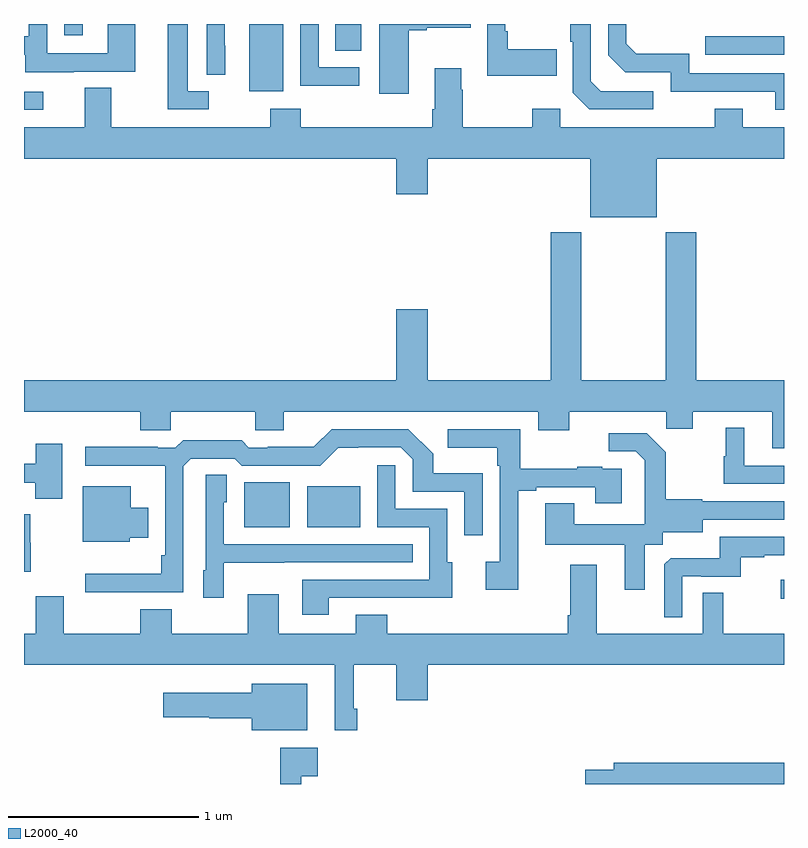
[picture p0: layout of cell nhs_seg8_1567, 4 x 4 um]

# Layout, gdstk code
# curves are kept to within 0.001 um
import gdstk
lib = gdstk.Library(unit=1e-6, precision=1e-09)
def R(c, l, rs):  # rectangles x0, y0, x1, y1
    for r in rs: c.add(gdstk.rectangle(r[:2], r[2:], *l))
def P(c, l, *ps):  # polygons
    for p in ps: c.add(gdstk.Polygon(p, *l))
L2000_40 = (2000, 40)

nhs_seg8_1567 = lib.new_cell('nhs_seg8_1567')
R(nhs_seg8_1567, L2000_40, [(214.983,1088.876,215,1088.974), (212.159,1089.251,212.398,1089.487), (212.492,1089.251,212.77,1089.466), (211,1091.448,211.102,1091.544), (212.186,1091.546,212.365,1091.9), (214.585,1091.739,215,1091.835), (212.639,1091.758,212.776,1091.9), (211.212,1091.841,211.309,1091.9)])
P(nhs_seg8_1567, L2000_40, [(211.261,1091.649),(211.585,1091.649),(211.585,1091.9),(211.44,1091.9),(211.44,1091.745),(211.122,1091.745),(211.122,1091.9),(211.026,1091.9),(211.026,1091.835),(211,1091.835),(211,1091.739),(211.007,1091.739),(211.007,1091.645),(211.261,1091.645)],
  [(212.764,1091.673),(212.55,1091.673),(212.55,1091.9),(212.454,1091.9),(212.454,1091.575),(212.764,1091.575)],
  [(212.058,1091.786),(212.057,1091.786),(212.057,1091.9),(211.962,1091.9),(211.962,1091.632),(212.058,1091.632)],
  [(213.803,1091.767),(213.547,1091.767),(213.547,1091.863),(213.534,1091.863),(213.534,1091.9),(213.438,1091.9),(213.438,1091.627),(213.803,1091.627)],
  [(215,1091.64),(214.5,1091.64),(214.5,1091.743),(214.223,1091.743),(214.17,1091.796),(214.17,1091.9),(214.074,1091.9),(214.074,1091.736),(214.164,1091.646),(214.404,1091.646),(214.404,1091.544),(214.955,1091.544),(214.955,1091.448),(215,1091.448)],
  [(213.025,1091.867),(213.121,1091.867),(213.121,1091.879),(213.352,1091.879),(213.352,1091.9),(212.87,1091.9),(212.87,1091.532),(213.025,1091.532)],
  [(211.972,1091.547),(211.861,1091.547),(211.861,1091.9),(211.757,1091.9),(211.757,1091.451),(211.972,1091.451)],
  [(214.312,1091.547),(214.035,1091.547),(213.984,1091.598),(213.984,1091.9),(213.876,1091.9),(213.876,1091.807),(213.888,1091.807),(213.888,1091.538),(213.975,1091.451),(214.312,1091.451)],
  [(212.456,1091.455),(212.296,1091.455),(212.296,1091.356),(211.459,1091.356),(211.459,1091.564),(211.319,1091.564),(211.319,1091.356),(211,1091.356),(211,1091.192),(212.96,1091.192),(212.96,1091.004),(213.124,1091.004),(213.124,1091.192),(213.98,1091.192),(213.98,1090.883),(214.33,1090.883),(214.33,1091.192),(215,1091.192),(215,1091.356),(214.783,1091.356),(214.783,1091.455),(214.636,1091.455),(214.636,1091.356),(213.822,1091.356),(213.822,1091.455),(213.676,1091.455),(213.676,1091.356),(213.309,1091.356),(213.309,1091.555),(213.301,1091.555),(213.301,1091.668),(213.161,1091.668),(213.161,1091.452),(213.149,1091.452),(213.149,1091.356),(212.456,1091.356)],
  [(211,1089.86),(211.613,1089.86),(211.613,1089.762),(211.773,1089.762),(211.773,1089.86),(212.218,1089.86),(212.218,1089.762),(212.368,1089.762),(212.368,1089.86),(213.707,1089.86),(213.707,1089.761),(213.871,1089.761),(213.871,1089.86),(214.381,1089.86),(214.381,1089.77),(214.519,1089.77),(214.519,1089.86),(214.937,1089.86),(214.937,1089.666),(215,1089.666),(215,1090.024),(214.538,1090.024),(214.538,1090.804),(214.378,1090.804),(214.378,1090.024),(213.933,1090.024),(213.933,1090.804),(213.773,1090.804),(213.773,1090.024),(213.124,1090.024),(213.124,1090.399),(212.96,1090.399),(212.96,1090.024),(211,1090.024)],
  [(215,1089.576),(214.792,1089.576),(214.792,1089.775),(214.694,1089.775),(214.694,1089.624),(214.683,1089.624),(214.683,1089.48),(215,1089.48)],
  [(211.839,1089.573),(211.878,1089.612),(212.109,1089.612),(212.145,1089.576),(212.559,1089.576),(212.654,1089.671),(212.982,1089.672),(213.045,1089.609),(213.045,1089.438),(213.318,1089.438),(213.318,1089.21),(213.414,1089.21),(213.414,1089.535),(213.153,1089.535),(213.153,1089.638),(213.022,1089.768),(212.619,1089.768),(212.525,1089.674),(212.284,1089.674),(212.284,1089.669),(212.184,1089.669),(212.145,1089.709),(211.837,1089.709),(211.797,1089.669),(211.703,1089.669),(211.703,1089.674),(211.323,1089.674),(211.323,1089.576),(211.743,1089.576),(211.743,1089.103),(211.723,1089.103),(211.723,1089.007),(211.323,1089.007),(211.323,1088.91),(211.839,1088.91)],
  [(213.601,1089.444),(213.697,1089.444),(213.697,1089.462),(214.007,1089.462),(214.007,1089.378),(214.147,1089.378),(214.147,1089.558),(214.043,1089.558),(214.043,1089.571),(213.911,1089.571),(213.911,1089.56),(213.613,1089.56),(213.613,1089.768),(213.231,1089.768),(213.231,1089.671),(213.492,1089.671),(213.492,1089.575),(213.504,1089.575),(213.504,1089.07),(213.429,1089.07),(213.429,1088.922),(213.601,1088.922)],
  [(214.267,1089.16),(214.362,1089.16),(214.362,1089.224),(214.573,1089.224),(214.573,1089.291),(215,1089.291),(215,1089.387),(214.569,1089.387),(214.569,1089.4),(214.377,1089.4),(214.377,1089.645),(214.277,1089.745),(214.077,1089.745),(214.077,1089.651),(214.221,1089.651),(214.268,1089.604),(214.268,1089.509),(214.266,1089.509),(214.266,1089.268),(213.895,1089.268),(213.895,1089.377),(213.743,1089.377),(213.743,1089.158),(214.163,1089.158),(214.163,1088.922),(214.267,1088.922)],
  [(211.201,1089.691),(211.061,1089.691),(211.061,1089.585),(211,1089.585),(211,1089.486),(211.059,1089.486),(211.059,1089.401),(211.201,1089.401)],
  [(212.605,1088.88),(213.035,1088.88),(213.035,1088.879),(213.253,1088.879),(213.253,1089.066),(213.228,1089.066),(213.228,1089.348),(212.955,1089.348),(212.955,1089.577),(212.859,1089.577),(212.859,1089.252),(213.132,1089.252),(213.132,1088.976),(212.465,1088.976),(212.465,1088.79),(212.605,1088.79)],
  [(212.052,1089.065),(212.369,1089.065),(212.369,1089.066),(213.047,1089.066),(213.047,1089.162),(212.052,1089.162),(212.052,1089.384),(212.068,1089.384),(212.068,1089.527),(211.956,1089.527),(211.956,1089.024),(211.943,1089.024),(211.943,1088.88),(212.052,1088.88)],
  [(211.557,1089.197),(211.654,1089.197),(211.654,1089.355),(211.561,1089.355),(211.561,1089.466),(211.31,1089.466),(211.31,1089.176),(211.557,1089.176)],
  [(211.036,1089.171),(211.034,1089.171),(211.034,1089.319),(211,1089.319),(211,1089.018),(211.036,1089.018)],
  [(214.464,1088.994),(214.564,1088.994),(214.564,1088.991),(214.772,1088.991),(214.772,1089.093),(214.895,1089.093),(214.895,1089.104),(215,1089.104),(215,1089.201),(214.662,1089.201),(214.662,1089.089),(214.403,1089.089),(214.371,1089.057),(214.371,1088.777),(214.464,1088.777)],
  [(212.753,1088.296),(212.736,1088.296),(212.736,1088.528),(212.96,1088.528),(212.96,1088.34),(213.124,1088.34),(213.124,1088.528),(215,1088.528),(215,1088.692),(214.681,1088.692),(214.681,1088.906),(214.572,1088.906),(214.572,1088.692),(214.015,1088.692),(214.015,1089.055),(213.875,1089.055),(213.875,1088.788),(213.863,1088.788),(213.863,1088.692),(212.911,1088.692),(212.911,1088.791),(212.747,1088.791),(212.747,1088.692),(212.341,1088.692),(212.341,1088.899),(212.177,1088.899),(212.177,1088.692),(211.777,1088.692),(211.777,1088.821),(211.613,1088.821),(211.613,1088.692),(211.209,1088.692),(211.209,1088.887),(211.061,1088.887),(211.061,1088.692),(211,1088.692),(211,1088.528),(212.636,1088.528),(212.636,1088.184),(212.753,1088.184)],
  [(212.491,1088.428),(212.198,1088.428),(212.198,1088.38),(211.734,1088.38),(211.734,1088.251),(211.974,1088.251),(211.974,1088.246),(212.198,1088.246),(212.198,1088.183),(212.491,1088.183)],
  [(212.459,1087.94),(212.545,1087.94),(212.545,1088.092),(212.349,1088.092),(212.349,1087.9),(212.459,1087.9)],
  [(215,1088.012),(214.103,1088.012),(214.103,1087.976),(213.954,1087.976),(213.954,1087.9),(215,1087.9)])

lib.write_gds('nhs_seg8_1567.gds')
